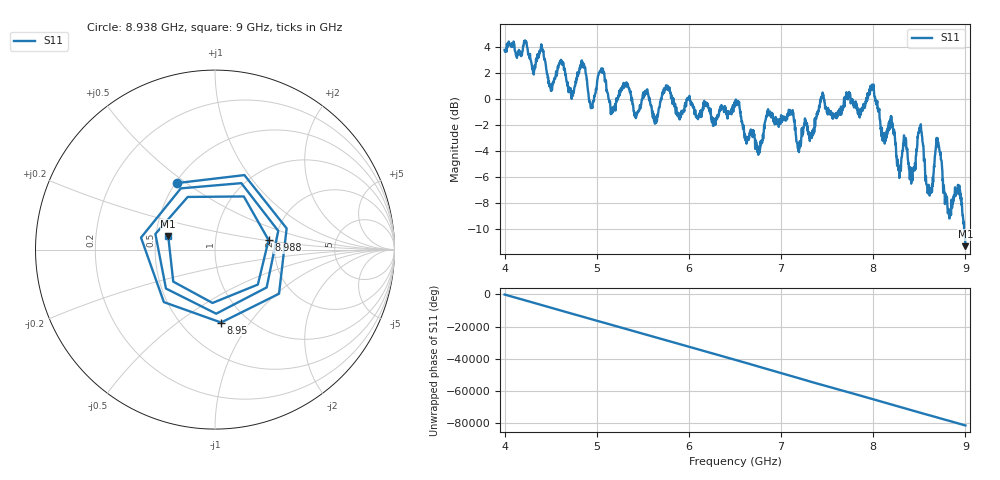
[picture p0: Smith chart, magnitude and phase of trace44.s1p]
! Created with skrf 1.8.0 (http://scikit-rf.org).
# Hz S RI R 50.0
!freq ReS11 ImS11
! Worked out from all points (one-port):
!   1601 points, 4 GHz to 9 GHz, reference 50 ohm
!   lowest |S11| = -11.3 dB at 9 GHz (marker M1), VSWR 1.75, Z = 29 + j4.75 ohm
!   |S11| at or under -10 dB: 8.986398 GHz to end of sweep
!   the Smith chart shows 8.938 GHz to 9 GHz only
!   S11 on the Smith chart (normalised r, x): 8.938 GHz: 0.51, +0.46; 8.95 GHz: 0.76, -0.74; 8.988 GHz: 1.83, +0.21; 9 GHz: 0.58, +0.10
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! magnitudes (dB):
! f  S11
! 4 GHz  3.8
! 4.403 GHz  4.1
! 4.503 GHz  0.6
! 4.625 GHz  2.8
! 4.728 GHz  0.0
! 4.85 GHz  2.8
! 4.941 GHz  -0.6
! 5.047 GHz  2.1
! 5.25 GHz  0.6
! 5.875 GHz  -1.1
! 6.5 GHz  -0.6
! 6.75 GHz  -3.7
! 6.862 GHz  -1.2
! 7.125 GHz  -0.9
! 7.191 GHz  -3.7
! 7.444 GHz  0.2
! 7.75 GHz  0.4
! 7.991 GHz  0.7
! 8.109 GHz  -2.9
! 8.375 GHz  -4.6
! 8.506 GHz  -2.3
! 8.606 GHz  -6.7
! 8.7 GHz  -3.4
! 8.819 GHz  -8.5
! 8.938 GHz  -7.4
! 8.95 GHz  -7.8
! 8.988 GHz  -10.4
! 9 GHz  -11.3
